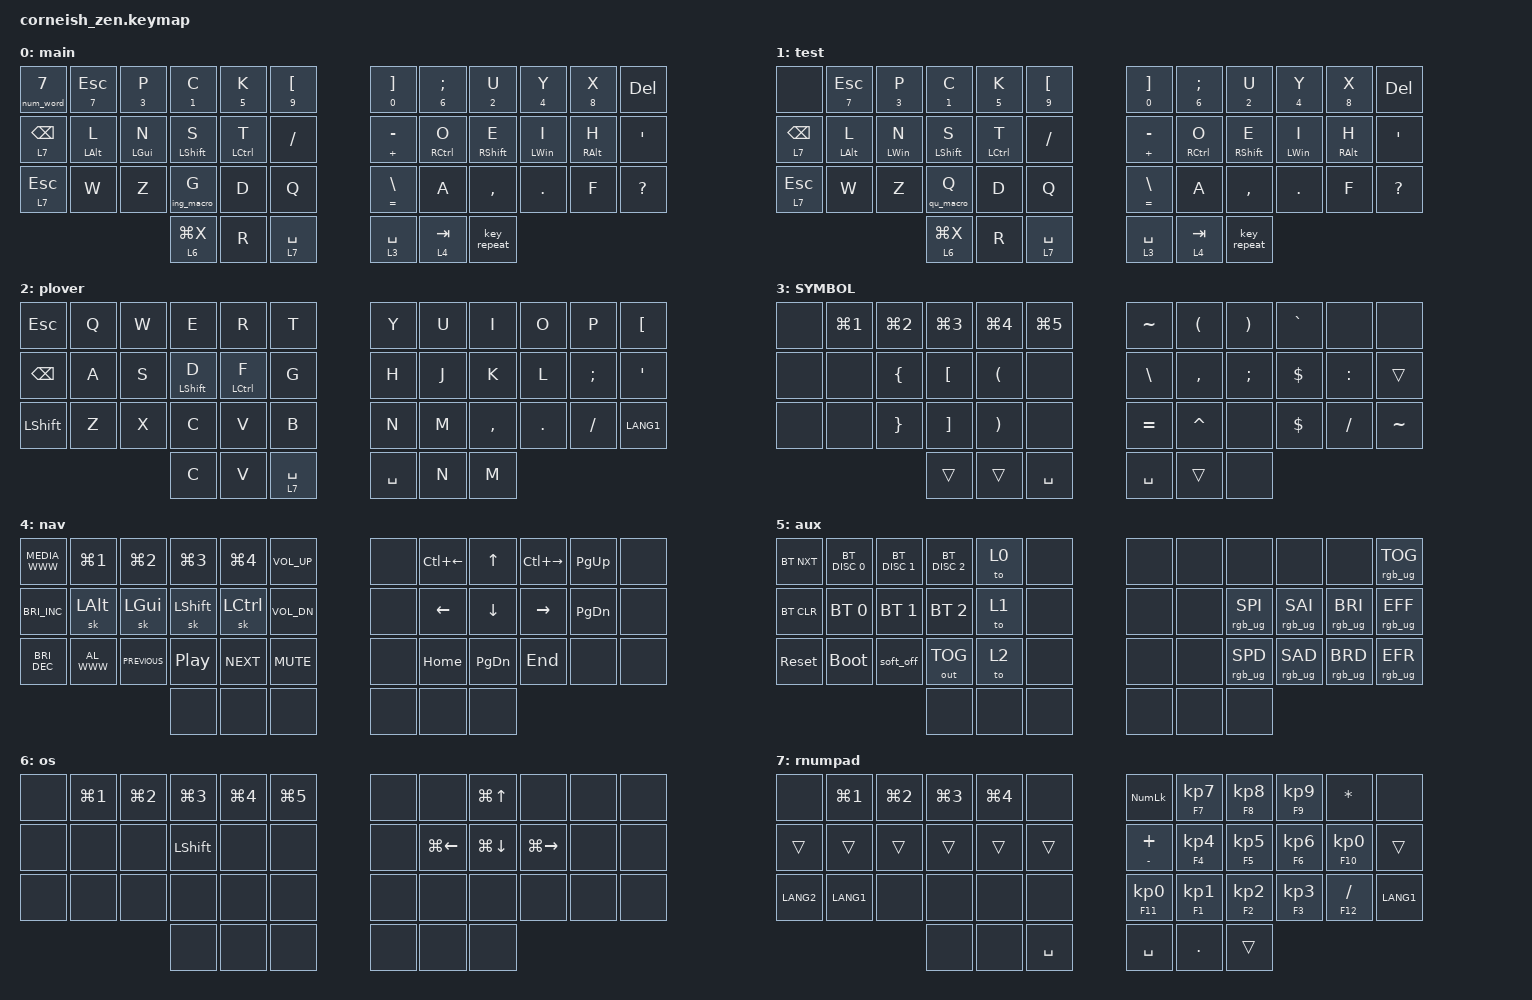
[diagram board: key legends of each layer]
/*
*
* Copyright (c) 2021 Darryl deHaan
* SPDX-License-Identifier: MIT
*
*/
//#include <dt-bindings/zmk/keys.h>
// #include "keys_ru_phonetic.h"

#include <behaviors/num_word.dtsi>
#include <behaviors.dtsi>
#include <dt-bindings/zmk/bt.h>
#include <dt-bindings/zmk/keys.h>
#include <dt-bindings/zmk/outputs.h>
#include <dt-bindings/zmk/rgb.h>

#define ______  &trans

&lt {
    quick-tap-ms = <200>;
    flavor = "balanced";
};

/ {
    chosen {
        zmk,matrix_transform = &default_transform;

        // zmk,matrix_transform = &five_column_transform;
    };
};

/ {
    combos {
        compatible = "zmk,combos";

        rsft-combo {
            bindings = <&kp UP>;
            key-positions = <20 8>;
            layers = <1 0>;
        };

        auxfunc {
            bindings = <&sl 5>;
            key-positions = <36 37 38>;
        };

        lctrl-combo {
            bindings = <&kp M>;
            key-positions = <16 4>;
            layers = <0>;
        };

        lwin-combo {
            bindings = <&kp B>;
            key-positions = <14 2>;
            layers = <0>;
        };

        lsft-combo {
            bindings = <&kp V>;
            key-positions = <15 3>;
            layers = <1 0>;
        };

        rctrl {
            bindings = <&kp DOWN_ARROW>;
            key-positions = <7 19>;
            layers = <1 0>;
        };

        ctrl-g-combo {
            bindings = <&lk_ing 0 G>;
            key-positions = <4 16>;
            layers = <1>;
        };

        ralt-combo {
            bindings = <&kp X>;
            key-positions = <22 34>;
            layers = <1 0>;
        };

        left {
            bindings = <&kp LEFT_ARROW>;
            key-positions = <8 7>;
            layers = <1 0>;
        };

        right {
            bindings = <&kp RIGHT>;
            key-positions = <8 9>;
            layers = <1 0>;
        };

        pgup {
            bindings = <&kp PG_UP>;
            key-positions = <8 19>;
            layers = <1 0>;
        };

        pgdn {
            bindings = <&kp PAGE_DOWN>;
            key-positions = <8 21>;
            layers = <1 0>;
        };

        copypaste {
            bindings = <&tph K_PASTE K_COPY>;
            key-positions = <5 17>;
            layers = <1 0>;
        };

        p1 {
            bindings = <&kp EXCLAMATION>;
            key-positions = <1 2>;
        };

        p2 {
            bindings = <&kp LEFT_BRACKET>;
            key-positions = <2 3>;
        };

        p3 {
            bindings = <&kp RIGHT_BRACKET>;
            key-positions = <3 4>;
        };

        rwin-combo {
            bindings = <&kp J>;
            key-positions = <9 21>;
            layers = <1 0>;
        };

        enter {
            bindings = <&kp ENTER>;
            key-positions = <19 20 21>;
            layers = <1 0>;
            require-prior-idle-ms = <150>;
        };

        escape {
            bindings = <&kp ESC>;
            key-positions = <16 15 14>;
            require-prior-idle-ms = <150>;
            layers = <1 0>;
        };

        pgup-combo {
            bindings = <&kp PG_UP>;
            key-positions = <8 20>;
            layers = <4>;
        };

        lalt-combo {
            bindings = <&kp M>;
            key-positions = <13 25>;
            layers = <0>;
        };

        l-alt-combo-test {
            bindings = <&tph LALT M>;
            key-positions = <13 25>;
            layers = <1>;
        };

        l-win-combo-test {
            bindings = <&tph LGUI B>;
            key-positions = <14 2>;
            layers = <1>;
        };

        ctrl-combo-g2 {
            bindings = <&lk_ing 0 G>;
            key-positions = <16 28>;
            layers = <1>;
        };
    };

    macros {
        qu_macro: qu_macro {
            compatible = "zmk,behavior-macro";
            #binding-cells = <0>;
            bindings = <&kp Q &kp U>;
        };

        ing_macro: ing_macro {
            compatible = "zmk,behavior-macro";
            #binding-cells = <0>;
            bindings = <&kp I &kp N &kp G>;
        };

        ck_macro: ck_macro {
            compatible = "zmk,behavior-macro";
            #binding-cells = <0>;
            bindings = <&kp C &kp K>;
        };
    };

    //&num_word {
    //  continue-list = <BSPC DEL DOT COMMA>;
    //};

    behaviors {
        tph: tap_preferr_hold {
            compatible = "zmk,behavior-hold-tap";
            #binding-cells = <2>;
            bindings = <&kp>, <&kp>;

            flavor = "tap-preferred";
            tapping-term-ms = <160>;
            quick-tap-ms = <160>;
            require-prior-idle-ms = <125>;
        };

        lk_qu: lk_qu {
            compatible = "zmk,behavior-hold-tap";
            bindings = <&qu_macro>, <&kp>;

            #binding-cells = <2>;
            flavor = "tap-preferred";
            tapping-term-ms = <150>;
            require-prior-idle-ms = <100>;
            quick-tap-ms = <150>;
        };

        lk_ck: lk_ck {
            compatible = "zmk,behavior-hold-tap";
            bindings = <&ck_macro>, <&kp>;

            #binding-cells = <2>;
            flavor = "tap-preferred";
            tapping-term-ms = <150>;
            require-prior-idle-ms = <100>;
            quick-tap-ms = <150>;
        };

        lk_ing: lk_ing {
            compatible = "zmk,behavior-hold-tap";
            bindings = <&ing_macro>, <&kp>;

            #binding-cells = <2>;
            flavor = "tap-preferred";
            tapping-term-ms = <150>;
            require-prior-idle-ms = <100>;
            quick-tap-ms = <150>;
        };
    };

    /*  Base (alpha) Layer  Hands Down Vibranium-Vb
    Building for a 36/42 key board
     ╭─────────────────────╮ ╭──────────────────────╮
ESC  │  X   W   M   G   J  │ │  #$  .:  /*  "«  '»  │ BSP
TAB  │  S   C   N   T   K  | |  ,;   A   E   I   H  │ Tg(Num)
LSFT │  B   P   L   D   V  │ │  -+   U   O   Y   F  │ RSFT
     ╰──────╮  App BSP  R  │ │  SPC RET TAB  ╭──────╯
            ╰──────────────╯ ╰───────────────╯

                l_alpha {
                        bindings = <

&kp ESC  &ak_x  &ak_w   &ak_m   &ak_g   &ak_j           &HashDllr   &DotColn    &SlshStar   &DqtLbkt    &SqtRbkt  &kp BSPC
&kp TAB &hml LCTRL S &hrm_c LALT C   &hml LGUI N  &hrm_t LSHFT T &ak_k    &CmmaSemi   &hrm_a RSHFT A &hrm_e RGUI E  &hrm_i RALT I  &hmr RCTRL H &kp SEMI
&kp LSHFT &ak_b &ak_p   &kp L   &ak_d   &ak_v       &MinusPlus  &ak_u       &ak_o       &ak_y   &kp F &kp RSHFT

                        &AppSwitch &mm_bspc_del &lt l_nav R      &lt l_sym SPACE &lt l_nav RETURN  &tog l_num
                        >;
                };

                   l_akG {
                            bindings = <
______  &kp T   &kp D   &kp L   ______  ______      ______  ______  ______  ______  ______  ______
______  ______  ______  ______  ______  &ak_lk      ______  ______  ______  ______  ______  ______
______  ______  ______  ______  ______  ______      ______  ______  ______  ______  ______  ______
                        ______  ______  ______      ______  ______  ______
                            >;
                   };
*/

    keymap {
        compatible = "zmk,keymap";

        main {
            display-name = "main";
            bindings = <
&num_word 7      &tph N7 ESC      &tph N3 P    &tph N1 C      &tph N5 K     &tph N9 LBKT    &tph N0 RIGHT_BRACKET  &tph N6 SEMI  &tph N2 U           &tph N4 Y        &tph N8 X         &kp DEL
&lt 7 BACKSPACE  &tph LEFT_ALT L  &tph LGUI N  &tph LSHIFT S  &tph LCTRL T  &kp FSLH        &tph PLUS MINUS        &tph RCTRL O  &tph RIGHT_SHIFT E  &tph LEFT_WIN I  &tph RIGHT_ALT H  &kp SQT
&lt 7 ESC        &kp W            &kp Z        &lk_ing 0 G    &kp D         &kp Q           &tph EQUAL BACKSLASH   &kp A         &kp COMMA           &kp DOT          &kp F             &kp QMARK
                                               &lt 6 LG(X)    &kp R         &lt 7 SPACE     &lt 3 SPACE            &lt 4 TAB     &key_repeat
            >;
        };

        test {
            display-name = "test";
            bindings = <
&none            &tph N7 ESC      &tph N3 P    &tph N1 C          &tph N5 K     &tph N9 LBKT    &tph N0 RIGHT_BRACKET  &tph N6 SEMI  &tph N2 U           &tph NUMBER_4 Y  &tph N8 X         &kp DEL
&lt 7 BACKSPACE  &tph LEFT_ALT L  &tph LWIN N  &tph LEFT_SHIFT S  &tph LCTRL T  &kp FSLH        &tph PLUS MINUS        &tph RCTRL O  &tph RIGHT_SHIFT E  &tph LEFT_WIN I  &tph RIGHT_ALT H  &kp SQT
&lt 7 ESC        &kp W            &kp Z        &lk_qu 0 Q         &kp D         &kp Q           &tph EQUAL BACKSLASH   &kp A         &kp COMMA           &kp DOT          &kp F             &kp QMARK
                                               &lt 6 LG(X)        &kp R         &lt 7 SPACE     &lt 3 SPACE            &lt 4 TAB     &key_repeat
            >;
        };

        plover {
            display-name = "plover";
            bindings = <
&kp ESCAPE      &kp Q  &kp W  &kp E          &kp R         &kp T          &kp Y      &kp U  &kp I      &kp O    &kp P     &kp LBKT
&kp BSPC        &kp A  &kp S  &tph LSHIFT D  &tph LCTRL F  &kp G          &kp H      &kp J  &kp K      &kp L    &kp SEMI  &kp SQT
&kp LEFT_SHIFT  &kp Z  &kp X  &kp C          &kp V         &kp B          &kp N      &kp M  &kp COMMA  &kp DOT  &kp FSLH  &kp LANG1
                              &kp C          &kp V         &lt 7 SPACE    &kp SPACE  &kp N  &kp M
            >;
        };

        sym {
            display-name = "SYMBOL";

            // -----------------------------------------------------------------------------------------
            // |  TAB |  !  |  @  |  #  |  $  |  %  |   |  ^  |  &  |  *  |  (  |  )  | BKSP |
            // | CTRL |     |     |     |     |     |   |  -  |  =  |  [  |  ]  |  \  |  `   |
            // | SHFT |     |     |     |     |     |   |  _  |  +  |  {  |  }  | "|" |  ~   |
            //                    | GUI |     | SPC |   | ENT |     | ALT |

            bindings = <
&none  &kp LG(N1)  &kp LG(N2)  &kp LG(N3)  &kp LG(N4)  &kp LG(N5)    &kp TILDE      &kp LPAR   &kp RPAR       &kp GRAVE   &none      &none
&none  &none       &kp LBRC    &kp LBKT    &kp LPAR    &none         &kp BACKSLASH  &kp COMMA  &kp SEMICOLON  &kp DOLLAR  &kp COLON  &trans
&none  &none       &kp RBRC    &kp RBKT    &kp RPAR    &none         &kp EQUAL      &kp CARET  &none          &kp DOLLAR  &kp FSLH   &kp TILDE
                               &trans      &trans      &kp SPACE     &kp SPACE      &trans     &none
            >;
        };

        nav {
            bindings = <
&kp C_MEDIA_WWW       &kp LG(N1)    &kp LG(N2)      &kp LG(N3)        &kp LG(N4)  &kp C_VOL_UP    &none  &kp LC(LEFT)    &kp UP_ARROW    &kp LC(RIGHT)  &kp PG_UP  &none
&kp C_BRIGHTNESS_INC  &sk LEFT_ALT  &sk LGUI        &sk LSHIFT        &sk LCTRL   &kp C_VOL_DN    &none  &kp LEFT_ARROW  &kp DOWN_ARROW  &kp RIGHT      &kp PG_DN  &none
&kp C_BRIGHTNESS_DEC  &kp C_AL_WWW  &kp C_PREVIOUS  &kp C_PLAY_PAUSE  &kp C_NEXT  &kp K_MUTE      &none  &kp HOME        &kp PAGE_DOWN   &kp END        &none      &none
                                                    &none             &none       &none           &none  &none           &none
            >;
        };

        aux {
            bindings = <
&bt BT_NXT  &bt BT_DISC 0  &bt BT_DISC 1  &bt BT_DISC 2  &to 0  &none    &none  &none  &none            &none            &none            &rgb_ug RGB_TOG
&bt BT_CLR  &bt BT_SEL 0   &bt BT_SEL 1   &bt BT_SEL 2   &to 1  &none    &none  &none  &rgb_ug RGB_SPI  &rgb_ug RGB_SAI  &rgb_ug RGB_BRI  &rgb_ug RGB_EFF
&sys_reset  &bootloader    &soft_off      &out OUT_TOG   &to 2  &none    &none  &none  &rgb_ug RGB_SPD  &rgb_ug RGB_SAD  &rgb_ug RGB_BRD  &rgb_ug RGB_EFR
                                          &none          &none  &none    &none  &none  &none
            >;
        };

        os {
            bindings = <
&none  &kp LG(NUMBER_1)  &kp LG(NUMBER_2)  &kp LG(NUMBER_3)  &kp LG(NUMBER_4)  &kp LG(N5)    &none  &none               &kp LG(UP)    &none          &none  &none
&none  &none             &none             &kp LSHFT         &none             &none         &none  &kp LG(LEFT_ARROW)  &kp LG(DOWN)  &kp LG(RIGHT)  &none  &none
&none  &none             &none             &none             &none             &none         &none  &none               &none         &none          &none  &none
                                           &none             &none             &none         &none  &none               &none
            >;
        };

        rnumpad {
            bindings = <
&none      &kp LG(N1)  &kp LG(NUMBER_2)  &kp LG(NUMBER_3)  &kp LG(NUMBER_4)  &none        &kp KP_NLCK      &tph F7 KP_N7  &tph F8 KP_N8  &tph F9 KP_N9  &kp ASTERISK    &none
&trans     &trans      &trans            &trans            &trans            &trans       &tph MINUS PLUS  &tph F4 KP_N4  &tph F5 KP_N5  &tph F6 KP_N6  &tph F10 KP_N0  &trans
&kp LANG2  &kp LANG1   &none             &none             &none             &none        &tph F11 KP_N0   &tph F1 KP_N1  &tph F2 KP_N2  &tph F3 KP_N3  &tph F12 SLASH  &kp LANG1
                                         &none             &none             &kp SPACE    &kp SPACE        &kp DOT        &trans
            >;
        };
    };
};
